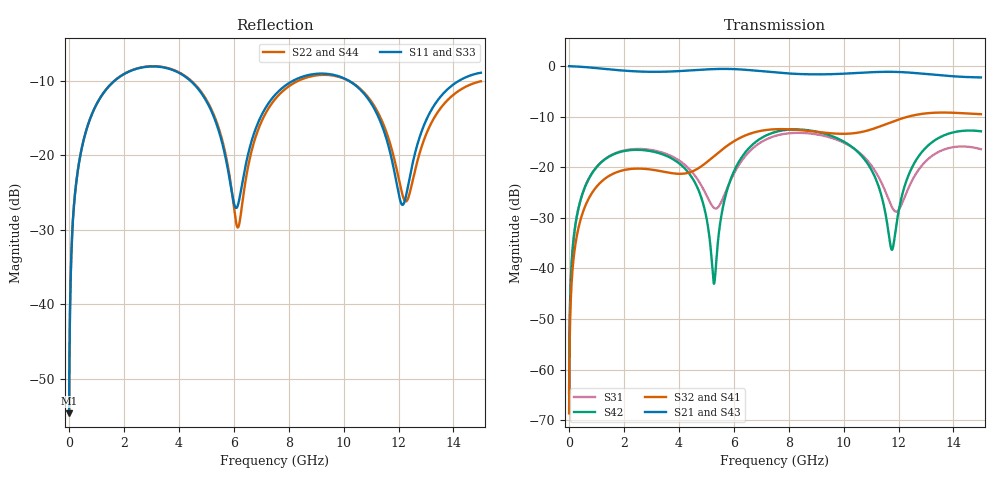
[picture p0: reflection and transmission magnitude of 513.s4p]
! Created with skrf 1.8.0 (http://scikit-rf.org).
# GHz S RI R 50.0
!freq ReS11 ImS11 ReS12 ImS12 ReS13 ImS13
! ReS14 ImS14
! ReS21 ImS21 ReS22 ImS22 ReS23 ImS23
! ReS24 ImS24
! ReS31 ImS31 ReS32 ImS32 ReS33 ImS33
! ReS34 ImS34
! ReS41 ImS41 ReS42 ImS42 ReS43 ImS43
! ReS44 ImS44
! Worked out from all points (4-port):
!   2499 points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, 5 MHz to 15 GHz, reference 50 ohm
!   strongest paths, dB at 5 MHz, 3.476 GHz, 7.19 GHz, 11.1 GHz, 15 GHz:
!     S21: 0.0, -1.1, -1.1, -1.2, -2.2
!     S43: 0.0, -1.1, -1.1, -1.2, -2.2
!     S32: -68.7, -20.9, -12.6, -12.4, -9.5
!     S41: -68.7, -20.9, -12.6, -12.4, -9.5
!     S42: -64.7, -17.6, -13.7, -21.4, -12.9
!     S31: -64.7, -17.2, -14.5, -20.3, -16.4
!   lowest |S11| = -54.7 dB at 5 MHz (marker M1), VSWR 1.00, Z = 50.1 + j0.112 ohm
!   |S11| at or under -10 dB: start of sweep to 1.657 GHz; 4.426 GHz to 8.152 GHz (3.727 GHz wide, 59.3 % of centre); 10.2 GHz to 14.2 GHz (4.002 GHz wide, 32.8 % of centre)
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0.005  0.00147 0.00112  0.9985 -0.00286  7.31e-05 0.000576  -7.11e-05 -0.000362
       0.9985 -0.00286  0.00147 0.00112  -7.11e-05 -0.000362  7.31e-05 0.000576
       7.31e-05 0.000576  -7.11e-05 -0.000362  0.00147 0.00112  0.9985 -0.00286
       -7.11e-05 -0.000362  7.31e-05 0.000576  0.9985 -0.00286  0.00147 0.00112
0.3126303  0.02 0.0742  0.9728 -0.1788  0.00906 0.0345  -0.00744 -0.0216
           0.9728 -0.1788  0.02 0.0742  -0.00744 -0.0216  0.00877 0.0346
           0.00906 0.0345  -0.00744 -0.0216  0.02 0.0742  0.9728 -0.1788
           -0.00744 -0.0216  0.00877 0.0346  0.9728 -0.1788  0.02 0.0742
1.569404  0.2402 0.1891  0.6112 -0.6915  0.1164 0.0648  -0.0836 -0.0162
          0.6112 -0.6915  0.2414 0.1884  -0.0837 -0.0161  0.1121 0.0698
          0.1164 0.0648  -0.0837 -0.0161  0.2402 0.1891  0.6111 -0.6915
          -0.0836 -0.0162  0.1121 0.0698  0.6111 -0.6915  0.2415 0.1884
5.283451  0.1053 -0.1456  -0.8147 -0.458  -0.0334 -0.0214  -0.0595 0.1141
          -0.8147 -0.458  0.0992 -0.1564  -0.059 0.1144  0.00661 0.00243
          -0.0334 -0.0214  -0.059 0.1144  0.1061 -0.1471  -0.8143 -0.4581
          -0.0595 0.1141  0.00661 0.00243  -0.8143 -0.4581  0.1002 -0.1578
9.572739  0.3425 -0.0663  0.0334 0.832  0.1759 -0.0829  0.1977 -0.0852
          0.0334 0.832  0.3404 -0.0512  0.1979 -0.0873  0.1816 -0.0914
          0.1759 -0.0829  0.1979 -0.0873  0.3424 -0.0653  0.035 0.8317
          0.1977 -0.0852  0.1816 -0.0914  0.035 0.8317  0.3409 -0.0538
11.76115  0.0605 -0.0702  0.802 0.357  -0.0353 -0.0196  0.1064 -0.2597
          0.802 0.357  0.0691 -0.0837  0.103 -0.2612  0.0151 -0.00155
          -0.0353 -0.0196  0.103 -0.2612  0.0637 -0.0713  0.8027 0.3545
          0.1064 -0.2597  0.0151 -0.00155  0.8027 0.3545  0.0674 -0.0871
15  0.3555 0.0469  0.286 -0.7179  0.1458 -0.0381  -0.3277 -0.0629
    0.286 -0.7179  0.3064 0.0693  -0.3296 -0.0583  0.1928 -0.1191
    0.1458 -0.0381  -0.3296 -0.0583  0.353 0.0442  0.2807 -0.7206
    -0.3277 -0.0629  0.1928 -0.1191  0.2807 -0.7206  0.3059 0.065
